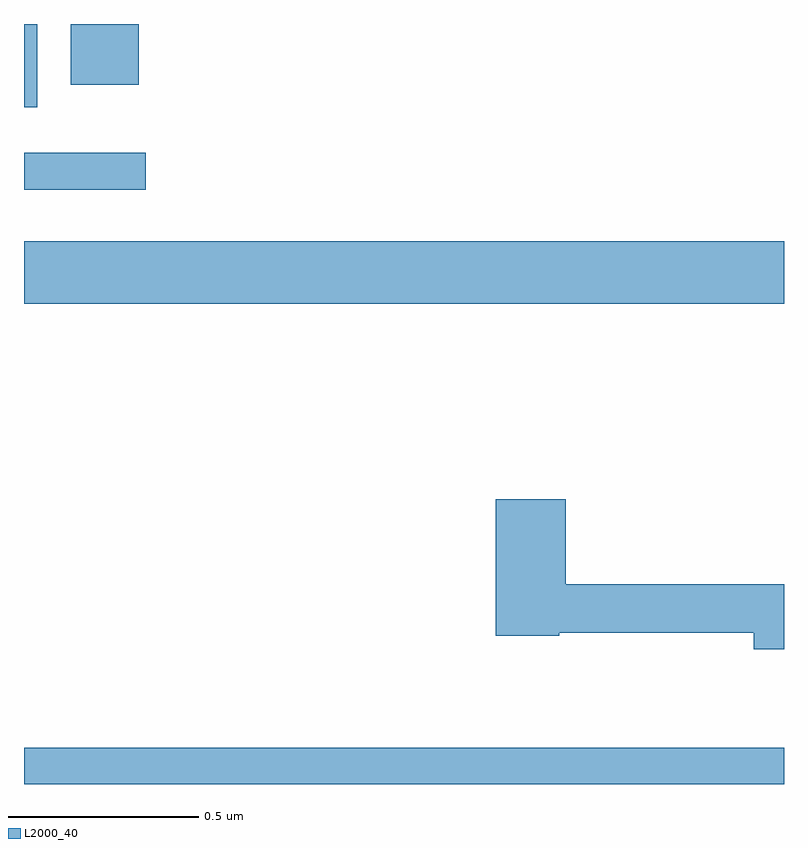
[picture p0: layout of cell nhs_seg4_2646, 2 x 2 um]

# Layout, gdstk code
import gdstk
lib = gdstk.Library(unit=1e-6, precision=1e-09)
def R(c, l, rs):  # rectangles x0, y0, x1, y1
    for r in rs: c.add(gdstk.rectangle(r[:2], r[2:], *l))
def P(c, l, *ps):  # polygons
    for p in ps: c.add(gdstk.Polygon(p, *l))
L2000_40 = (2000, 40)

nhs_seg4_2646 = lib.new_cell('nhs_seg4_2646')
R(nhs_seg4_2646, L2000_40, [(143,784.9,145,784.996), (143,786.164,145,786.328), (143,786.464,143.32,786.561), (143,786.681,143.035,786.9), (143.123,786.74,143.302,786.9)])
P(nhs_seg4_2646, L2000_40, [(145,785.426),(144.425,785.426),(144.425,785.65),(144.242,785.65),(144.242,785.29),(144.408,785.29),(144.408,785.298),(144.92,785.298),(144.92,785.255),(145,785.255)])

lib.write_gds('nhs_seg4_2646.gds')
